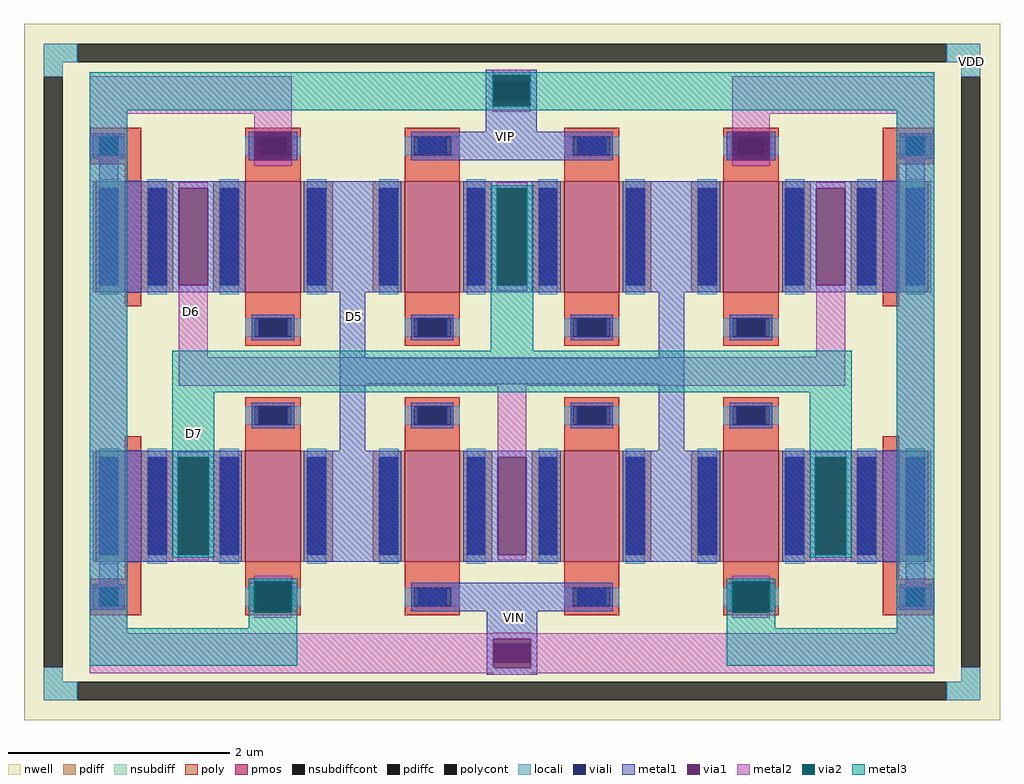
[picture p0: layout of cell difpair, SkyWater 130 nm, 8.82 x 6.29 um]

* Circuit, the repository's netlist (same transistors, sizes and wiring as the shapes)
** sch_path: /home/jay_mosfet/opamp1stage/magic/difpair.sch
.subckt difpair VIN VIP D6 D7 D5 VDD
*.PININFO VIN:I VIP:I D6:B D7:B D5:B VDD:B
XM6 D6 VIN D5 VDD sky130_fd_pr__pfet_01v8 L=0.5 W=1 nf=1 m=4
XM7 D7 VIP D5 VDD sky130_fd_pr__pfet_01v8 L=0.5 W=1 nf=1 m=4
XM1 D6 D6 D6 VDD sky130_fd_pr__pfet_01v8 L=0.15 W=1 nf=1 m=2
XM2 D7 D7 D7 VDD sky130_fd_pr__pfet_01v8 L=0.15 W=1 nf=1 m=2
.ends
.end

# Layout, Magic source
magic
tech sky130A
magscale 1 2
<< nwell >>
rect 1494 1521 3258 1768
rect 1494 1498 2203 1521
rect 2253 1515 3258 1521
rect 2253 1498 2499 1515
rect 1494 1496 2499 1498
rect 2533 1496 3258 1515
rect 1494 1400 3258 1496
rect 1494 1364 1908 1400
rect 1962 1364 3258 1400
rect 1494 1274 3258 1364
rect 1494 1249 2207 1274
rect 2252 1249 3258 1274
rect 1494 1033 3258 1249
rect 1494 998 1912 1033
rect 1971 1030 3258 1033
rect 1971 1008 2206 1030
rect 2252 1008 2494 1030
rect 1971 1003 2494 1008
rect 2547 1003 3258 1030
rect 1971 998 3258 1003
rect 1494 938 3258 998
rect 1494 906 1912 938
rect 1954 926 3258 938
rect 1954 914 2774 926
rect 2806 914 3258 926
rect 1954 906 2766 914
rect 1494 854 2766 906
rect 2830 854 3258 914
rect 1494 509 3258 854
<< nsubdiff >>
rect 1530 1698 1590 1732
rect 3162 1698 3222 1732
rect 1530 1672 1564 1698
rect 3188 1672 3222 1698
rect 1530 579 1564 605
rect 3188 579 3222 605
rect 1530 545 1590 579
rect 3162 545 3222 579
<< nsubdiffcont >>
rect 1590 1698 3162 1732
rect 1530 605 1564 1672
rect 3188 605 3222 1672
rect 1590 545 3162 579
<< poly >>
rect 1614 1564 1706 1580
rect 1614 1530 1630 1564
rect 1664 1530 1706 1564
rect 1614 1514 1706 1530
rect 1676 1509 1706 1514
rect 3046 1564 3138 1580
rect 3046 1530 3088 1564
rect 3122 1530 3138 1564
rect 3046 1514 3138 1530
rect 3046 1509 3076 1514
rect 1676 765 1706 770
rect 1614 749 1706 765
rect 1614 715 1630 749
rect 1664 715 1706 749
rect 1614 699 1706 715
rect 3046 765 3076 770
rect 3046 749 3138 765
rect 3046 715 3088 749
rect 3122 715 3138 749
rect 3046 699 3138 715
<< polycont >>
rect 1630 1530 1664 1564
rect 3088 1530 3122 1564
rect 1630 715 1664 749
rect 3088 715 3122 749
<< locali >>
rect 1530 1698 1590 1732
rect 3162 1698 3222 1732
rect 1530 1672 1564 1698
rect 3188 1672 3222 1698
rect 1614 1530 1630 1564
rect 1664 1530 1680 1564
rect 3072 1530 3088 1564
rect 3122 1530 3138 1564
rect 1614 715 1630 749
rect 1664 715 1680 749
rect 3072 715 3088 749
rect 3122 715 3138 749
rect 1530 579 1564 605
rect 3188 579 3222 605
rect 1530 545 1590 579
rect 3162 545 3222 579
<< viali >>
rect 2341 1630 2409 1664
rect 1630 1530 1664 1564
rect 3088 1530 3122 1564
rect 1630 715 1664 749
rect 3088 715 3122 749
rect 2342 613 2410 647
<< metal1 >>
rect 2329 1673 2421 1685
rect 2329 1621 2341 1673
rect 2409 1621 2421 1673
rect 2329 1573 2421 1621
rect 1618 1564 1676 1570
rect 1618 1530 1630 1564
rect 1664 1530 1676 1564
rect 1618 1524 1676 1530
rect 1630 1483 1664 1524
rect 1900 1521 1910 1573
rect 1978 1521 1988 1573
rect 2194 1521 2558 1573
rect 2764 1521 2774 1573
rect 2842 1521 2852 1573
rect 3076 1564 3134 1570
rect 3076 1530 3088 1564
rect 3122 1530 3134 1564
rect 3076 1524 3134 1530
rect 3088 1483 3122 1524
rect 1630 1471 1894 1483
rect 1630 1295 1774 1471
rect 1826 1295 1894 1471
rect 1630 1283 1894 1295
rect 2000 1283 2176 1483
rect 2288 1471 2464 1483
rect 2288 1295 2350 1471
rect 2402 1295 2464 1471
rect 2288 1283 2464 1295
rect 2576 1283 2752 1483
rect 2864 1471 3128 1483
rect 2864 1295 2926 1471
rect 2978 1295 3128 1471
rect 2864 1283 3128 1295
rect 2065 1163 2111 1283
rect 2641 1163 2687 1283
rect 2065 1116 2687 1163
rect 2065 996 2111 1116
rect 2641 996 2687 1116
rect 1624 984 1888 996
rect 1624 808 1774 984
rect 1826 808 1888 984
rect 1624 796 1888 808
rect 2000 796 2176 996
rect 2288 984 2464 996
rect 2288 808 2350 984
rect 2402 808 2464 984
rect 2288 796 2464 808
rect 2576 796 2752 996
rect 2864 984 3128 996
rect 2864 808 2926 984
rect 2978 808 3128 984
rect 2864 796 3128 808
rect 1630 755 1664 796
rect 1618 749 1676 755
rect 1618 715 1630 749
rect 1664 715 1676 749
rect 1618 709 1676 715
rect 1900 706 1910 758
rect 1978 706 1988 758
rect 2194 706 2558 758
rect 2764 706 2774 758
rect 2842 706 2852 758
rect 3088 755 3122 796
rect 3076 749 3134 755
rect 3076 715 3088 749
rect 3122 715 3134 749
rect 3076 709 3134 715
rect 2330 656 2422 706
rect 2330 604 2342 656
rect 2410 604 2422 656
rect 2330 591 2422 604
<< via1 >>
rect 2341 1664 2409 1673
rect 2341 1630 2409 1664
rect 2341 1621 2409 1630
rect 1910 1521 1978 1573
rect 2774 1521 2842 1573
rect 1774 1295 1826 1471
rect 2350 1295 2402 1471
rect 2926 1295 2978 1471
rect 1774 808 1826 984
rect 2350 808 2402 984
rect 2926 808 2978 984
rect 1910 706 1978 758
rect 2774 706 2842 758
rect 2342 647 2410 656
rect 2342 613 2410 647
rect 2342 604 2410 613
<< metal2 >>
rect 2341 1675 2409 1685
rect 1613 1605 1978 1673
rect 2341 1609 2409 1619
rect 1613 666 1681 1605
rect 1910 1573 1978 1605
rect 1910 1511 1978 1521
rect 2774 1605 3139 1673
rect 2774 1573 2842 1605
rect 2774 1511 2842 1521
rect 1774 1471 1826 1481
rect 1774 1165 1826 1295
rect 2348 1471 2404 1481
rect 2348 1285 2404 1295
rect 2926 1471 2978 1481
rect 2926 1166 2978 1295
rect 2896 1165 2978 1166
rect 1774 1114 2978 1165
rect 1772 984 1828 994
rect 1772 798 1828 808
rect 2350 984 2402 1114
rect 2350 798 2402 808
rect 2924 984 2980 994
rect 2924 798 2980 808
rect 1910 760 1978 770
rect 1910 694 1978 704
rect 2774 760 2842 770
rect 2774 694 2842 704
rect 2342 666 2410 667
rect 3071 666 3139 1605
rect 1613 656 3139 666
rect 1613 604 2342 656
rect 2410 604 3139 656
rect 1613 594 3139 604
rect 2342 591 2410 594
<< via2 >>
rect 2341 1673 2409 1675
rect 2341 1621 2409 1673
rect 2341 1619 2409 1621
rect 2348 1295 2350 1471
rect 2350 1295 2402 1471
rect 2402 1295 2404 1471
rect 1772 808 1774 984
rect 1774 808 1826 984
rect 1826 808 1828 984
rect 2924 808 2926 984
rect 2926 808 2978 984
rect 2978 808 2980 984
rect 1910 758 1978 760
rect 1910 706 1978 758
rect 1910 704 1978 706
rect 2774 758 2842 760
rect 2774 706 2842 758
rect 2774 704 2842 706
<< metal3 >>
rect 1613 1675 3139 1680
rect 1613 1619 2341 1675
rect 2409 1619 3139 1675
rect 1613 1612 3139 1619
rect 1613 675 1681 1612
rect 2338 1471 2414 1476
rect 2338 1295 2348 1471
rect 2404 1295 2414 1471
rect 2338 1177 2414 1295
rect 1762 1102 2990 1177
rect 1762 984 1838 1102
rect 1762 808 1772 984
rect 1828 808 1838 984
rect 1762 803 1838 808
rect 2914 984 2990 1102
rect 2914 808 2924 984
rect 2980 808 2990 984
rect 2914 803 2990 808
rect 1900 760 1988 765
rect 1900 704 1910 760
rect 1978 704 1988 760
rect 1900 675 1988 704
rect 1613 608 1988 675
rect 2764 760 2852 765
rect 2764 704 2774 760
rect 2842 704 2852 760
rect 2764 675 2852 704
rect 3071 675 3139 1612
rect 2764 608 3139 675
use sky130_fd_pr__pfet_01v8_QKGXH2  sky130_fd_pr__pfet_01v8_QKGXH2_0
transform 1 0 3061 0 1 1383
box -109 -162 109 162
use sky130_fd_pr__pfet_01v8_QKGXH2  sky130_fd_pr__pfet_01v8_QKGXH2_3
transform 1 0 3061 0 1 896
box -109 -162 109 162
use sky130_fd_pr__pfet_01v8_QKGXH2  sky130_fd_pr__pfet_01v8_QKGXH2_4
transform 1 0 1691 0 1 1383
box -109 -162 109 162
use sky130_fd_pr__pfet_01v8_QKGXH2  sky130_fd_pr__pfet_01v8_QKGXH2_5
transform 1 0 1691 0 1 896
box -109 -162 109 162
use sky130_fd_pr__pfet_01v8_VGK97L  sky130_fd_pr__pfet_01v8_VGK97L_0
transform 1 0 2808 0 1 896
box -144 -200 144 200
use sky130_fd_pr__pfet_01v8_VGK97L  sky130_fd_pr__pfet_01v8_VGK97L_1
transform 1 0 1944 0 1 1383
box -144 -200 144 200
use sky130_fd_pr__pfet_01v8_VGK97L  sky130_fd_pr__pfet_01v8_VGK97L_2
transform 1 0 2232 0 1 1383
box -144 -200 144 200
use sky130_fd_pr__pfet_01v8_VGK97L  sky130_fd_pr__pfet_01v8_VGK97L_3
transform 1 0 2520 0 1 1383
box -144 -200 144 200
use sky130_fd_pr__pfet_01v8_VGK97L  sky130_fd_pr__pfet_01v8_VGK97L_4
transform 1 0 2808 0 1 1383
box -144 -200 144 200
use sky130_fd_pr__pfet_01v8_VGK97L  sky130_fd_pr__pfet_01v8_VGK97L_5
transform 1 0 1944 0 1 896
box -144 -200 144 200
use sky130_fd_pr__pfet_01v8_VGK97L  sky130_fd_pr__pfet_01v8_VGK97L_6
transform 1 0 2232 0 1 896
box -144 -200 144 200
use sky130_fd_pr__pfet_01v8_VGK97L  sky130_fd_pr__pfet_01v8_VGK97L_7
transform 1 0 2520 0 1 896
box -144 -200 144 200
<< labels >>
flabel metal3 1802 1028 1802 1028 0 FreeSans 160 0 0 0 D7
port 2 nsew
flabel metal2 1796 1248 1796 1248 0 FreeSans 160 0 0 0 D6
port 3 nsew
flabel metal1 2092 1238 2092 1238 0 FreeSans 160 0 0 0 D5
port 4 nsew
flabel locali 3206 1700 3206 1700 0 FreeSans 160 0 0 0 VDD
port 9 nsew
flabel metal1 2364 1564 2364 1564 0 FreeSans 160 0 0 0 VIP
port 10 nsew
flabel metal1 2380 694 2380 694 0 FreeSans 160 0 0 0 VIN
port 11 nsew
<< end >>

# cell sky130_fd_pr__pfet_01v8_QKGXH2: kit device sky130_fd_pr__pfet_01v8, w 1 l 0.15 m 1 nf 1 diffcov 100 polycov 100 guard 0 glc 1 grc 1 gtc 1 gbc 1 tbcov 100 rlcov 100 topc 0 botc 0 poverlap 0 doverlap 1 lmin 0.15 wmin 0.42 compatible {sky130_fd_pr__pfet_01v8 sky130_fd_pr__pfet_01v8_lvt sky130_fd_pr__pfet_01v8_hvt sky130_fd_pr__pfet_g5v0d10v5} full_metal 1 viasrc 100 viadrn 100 viagate { 100} viagb 0 viagr 0 viagl 0 viagt 0

# cell sky130_fd_pr__pfet_01v8_VGK97L: kit device sky130_fd_pr__pfet_01v8, w 1 l 0.5 m 1 nf 1 diffcov 100 polycov 100 guard 0 glc 1 grc 1 gtc 1 gbc 1 tbcov 100 rlcov 100 topc 1 botc 1 poverlap 0 doverlap 1 lmin 0.15 wmin 0.42 compatible {sky130_fd_pr__pfet_01v8 sky130_fd_pr__pfet_01v8_lvt sky130_fd_pr__pfet_01v8_hvt sky130_fd_pr__pfet_g5v0d10v5} full_metal 1 viasrc 100 viadrn 100 viagate 75 viagb 0 viagr 0 viagl 0 viagt 0
